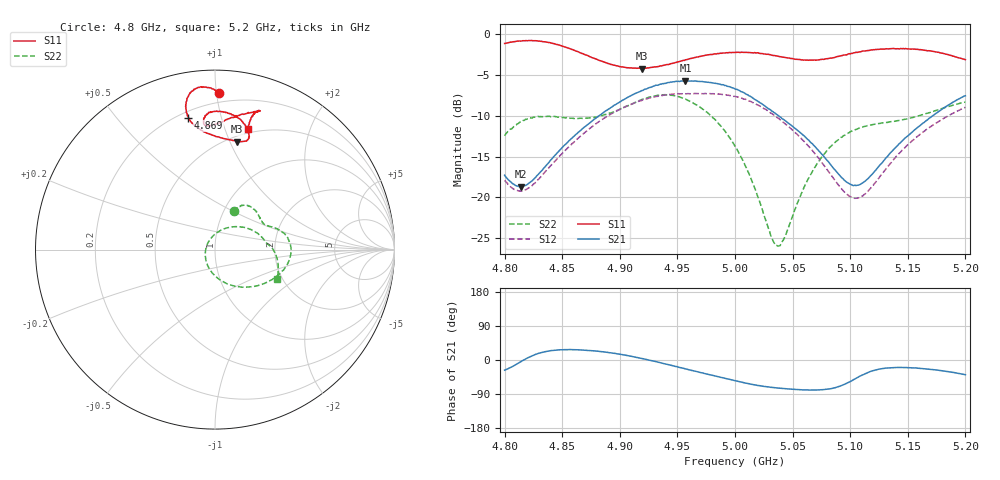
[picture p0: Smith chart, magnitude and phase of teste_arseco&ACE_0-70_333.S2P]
! Network Analyzer HP8722D
! Hewlett-Packard
! Data name: Linha & Wilkinson
! Saver's name: Rodrigo Anjos
! Comments: Teste da utilização de aquisição
! continua pelo VNA HP8722D
! Time and date: 8/5/2025 15:32
!  Frequency  S11  S21  S12  S22
# HZ  S  MA R 50
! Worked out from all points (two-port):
!   401 points, 4.8 GHz to 5.2 GHz, reference 50 ohm
!   highest |S21| = -5.74 dB at 4.957 GHz (marker M1); lowest = -18.7 dB at 4.814 GHz (marker M2)
!   |S21| within 3 dB of the highest: 4.895 GHz to 5.025 GHz (130.1 MHz wide, 2.62 % of centre); 5.184823 GHz to end of sweep
!   lowest |S11| = -4.2 dB at 4.919 GHz (marker M3), VSWR 4.17, Z = 27.5 + j53 ohm
!   |S11| at or under -10 dB: nowhere
!   |S22| runs from -25.9 to -7.4 dB; largest |S21 - S12| = 0.89
!   S11 on the Smith chart (normalised r, x): 4.8 GHz: 0.14, +1.02; 4.869 GHz: 0.24, +0.79; 5.2 GHz: 0.46, +1.20
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4.8e9  0.873 88.5  0.1368 -26.8  0.1273 100.4  0.2383 64.0
4.814e9  0.9028 92.5  0.1164 -4.5  0.1095 119.8  0.2894 58.2
4.843e9  0.87 99.7  0.1788 25.8  0.1648 149.5  0.3128 41.0
4.867e9  0.7591 101.6  0.2606 26.4  0.2403 153.5  0.3045 30.4
4.869e9  0.7493 101.4  0.268 26.0  0.2477 153.4  0.3044 29.7
4.896e9  0.6412 91.9  0.3684 17.4  0.3339 147.5  0.3365 22.2
4.919e9  0.6135 78.7  0.45 4.2  0.3912 137.9  0.3968 13.1
4.934e9  0.6319 73.8  0.4889 -6.3  0.418 129.5  0.4216 2.9
4.957e9  0.6936 74.9  0.5165 -23.5  0.4301 115.0  0.3997 -16.3
4.981e9  0.7491 81.3  0.5006 -40.8  0.4307 99.7  0.3061 -41.3
5e9  0.7698 87.4  0.4602 -54.8  0.4152 86.3  0.2055 -68.9
5.019e9  0.7646 92.4  0.3906 -66.8  0.3694 73.1  0.105 -109.9
5.032e9  0.74 94.4  0.337 -72.2  0.3256 66.4  0.05662 -162.1
5.037e9  0.7308 94.9  0.3189 -73.9  0.3063 64.0  0.05042 165.4
5.043e9  0.7175 95.1  0.2968 -75.6  0.2844 61.8  0.05697 128.6
5.067e9  0.6916 92.6  0.2136 -79.3  0.1944 57.9  0.1434 58.7
5.084e9  0.71 86.9  0.1557 -75.4  0.1354 63.8  0.2076 36.2
5.103e9  0.7645 79.4  0.1181 -51.8  0.09917 90.4  0.2571 19.6
5.113e9  0.7864 75.7  0.1258 -36.0  0.1051 108.2  0.272 14.1
5.134e9  0.8107 72.3  0.184 -20.5  0.1585 125.8  0.2897 7.4
5.17e9  0.7854 74.0  0.309 -24.6  0.2714 120.6  0.3324 -2.4
5.2e9  0.6948 74.8  0.4182 -38.8  0.356 109.0  0.383 -25.6
